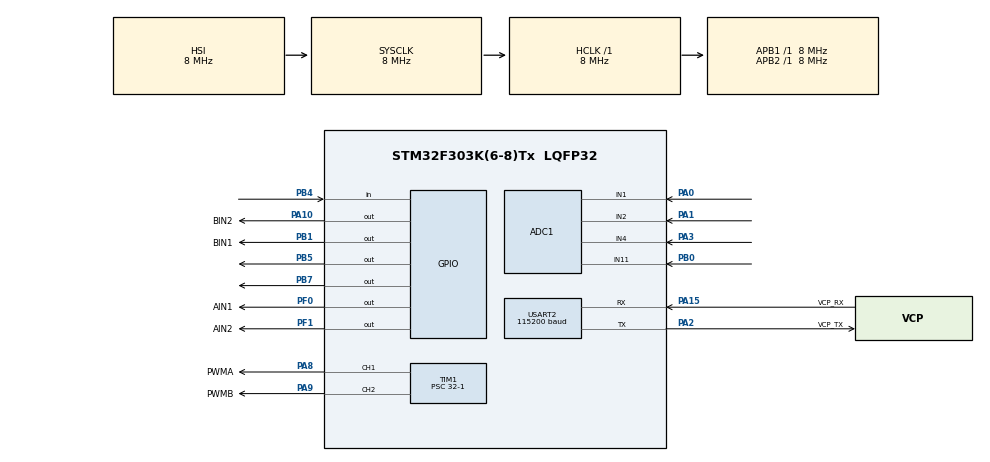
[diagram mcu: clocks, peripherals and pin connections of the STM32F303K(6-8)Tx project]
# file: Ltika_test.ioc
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ADC1.Channel-0\#ChannelRegularConversion=ADC_CHANNEL_1
ADC1.Channel-1\#ChannelRegularConversion=ADC_CHANNEL_2
ADC1.Channel-2\#ChannelRegularConversion=ADC_CHANNEL_4
ADC1.Channel-3\#ChannelRegularConversion=ADC_CHANNEL_11
ADC1.ClockPrescaler=ADC_CLOCK_SYNC_PCLK_DIV4
ADC1.ContinuousConvMode=ENABLE
ADC1.DMAContinuousRequests=ENABLE
ADC1.EnableAnalogWatchDog1=false
ADC1.NbrOfConversion=4
ADC1.NbrOfConversionFlag=1
ADC1.Offset-0\#ChannelRegularConversion=0
ADC1.Offset-1\#ChannelRegularConversion=0
ADC1.Offset-2\#ChannelRegularConversion=0
ADC1.Offset-3\#ChannelRegularConversion=0
ADC1.OffsetNumber-0\#ChannelRegularConversion=ADC_OFFSET_NONE
ADC1.OffsetNumber-1\#ChannelRegularConversion=ADC_OFFSET_NONE
ADC1.OffsetNumber-2\#ChannelRegularConversion=ADC_OFFSET_NONE
ADC1.OffsetNumber-3\#ChannelRegularConversion=ADC_OFFSET_NONE
ADC1.Rank-0\#ChannelRegularConversion=1
ADC1.Rank-1\#ChannelRegularConversion=2
ADC1.Rank-2\#ChannelRegularConversion=3
ADC1.Rank-3\#ChannelRegularConversion=4
ADC1.SamplingTime-0\#ChannelRegularConversion=ADC_SAMPLETIME_61CYCLES_5
ADC1.SamplingTime-1\#ChannelRegularConversion=ADC_SAMPLETIME_61CYCLES_5
ADC1.SamplingTime-2\#ChannelRegularConversion=ADC_SAMPLETIME_61CYCLES_5
ADC1.SamplingTime-3\#ChannelRegularConversion=ADC_SAMPLETIME_61CYCLES_5
ADC1.master=1
Dma.ADC1.0.Direction=DMA_PERIPH_TO_MEMORY
Dma.ADC1.0.Instance=DMA1_Channel1
Dma.ADC1.0.MemDataAlignment=DMA_MDATAALIGN_HALFWORD
Dma.ADC1.0.MemInc=DMA_MINC_ENABLE
Dma.ADC1.0.Mode=DMA_CIRCULAR
Dma.ADC1.0.PeriphDataAlignment=DMA_PDATAALIGN_HALFWORD
Dma.ADC1.0.PeriphInc=DMA_PINC_DISABLE
Dma.ADC1.0.Priority=DMA_PRIORITY_LOW
Dma.Request0=ADC1
Mcu.Family=STM32F3
Mcu.Name=STM32F303K(6-8)Tx
Mcu.Package=LQFP32
NVIC.DMA1_Channel1_IRQn=true\:0\:0\:false\:false\:true\:false\:true\:true
NVIC.PriorityGroup=NVIC_PRIORITYGROUP_4
PA0.Mode=IN1-Single-Ended
PA0.Signal=ADC1_IN1
PA1.Mode=IN2-Single-Ended
PA1.Signal=ADC1_IN2
PA10.GPIO_Label=BIN2
PA10.Signal=GPIO_Output
PA11.Signal=S_TIM1_CH4
PA12.Signal=S_TIM16_CH1
PA13.GPIO_Label=SWDIO
PA13.Mode=Serial_Wire
PA13.Signal=SYS_JTMS-SWDIO
PA14.GPIO_Label=SWCLK
PA14.Mode=Serial_Wire
PA14.Signal=SYS_JTCK-SWCLK
PA15.GPIO_Label=VCP_RX
PA15.Mode=Asynchronous
PA15.Signal=USART2_RX
PA2.GPIO_Label=VCP_TX
PA2.Mode=Asynchronous
PA2.Signal=USART2_TX
PA3.Mode=IN4-Single-Ended
PA3.Signal=ADC1_IN4
PA8.GPIO_Label=PWMA
PA8.Signal=S_TIM1_CH1
PA9.GPIO_Label=PWMB
PA9.Signal=S_TIM1_CH2
PB0.Mode=IN11-Single-Ended
PB0.Signal=ADC1_IN11
PB1.GPIO_Label=BIN1
PB1.Signal=GPIO_Output
PB3.Signal=S_TIM2_CH2
PB4.Signal=GPIO_Input
PB5.Signal=GPIO_Output
PB7.Signal=GPIO_Output
PF0\ /\ OSC_IN.GPIO_Label=AIN1
PF0\ /\ OSC_IN.Signal=GPIO_Output
PF1\ /\ OSC_OUT.GPIO_Label=AIN2
PF1\ /\ OSC_OUT.Signal=GPIO_Output
ProjectManager.HeapSize=0x200
ProjectManager.StackSize=0x400
ProjectManager.TargetToolchain=STM32CubeIDE
RCC.AHBFreq_Value=8000000
RCC.APB1Freq_Value=8000000
RCC.APB2Freq_Value=8000000
RCC.CortexFreq_Value=8000000
RCC.HSE_VALUE=8000000
RCC.HSI_VALUE=8000000
RCC.PLLMUL=RCC_PLL_MUL4
RCC.SYSCLKFreq_VALUE=8000000
SH.S_TIM16_CH1.0=TIM16_CH1
SH.S_TIM1_CH1.0=TIM1_CH1,PWM Generation1 CH1
SH.S_TIM1_CH2.0=TIM1_CH2,PWM Generation2 CH2
SH.S_TIM1_CH4.0=TIM1_CH4
SH.S_TIM2_CH2.0=TIM2_CH2
TIM1.Channel-PWM\ Generation1\ CH1=TIM_CHANNEL_1
TIM1.Channel-PWM\ Generation2\ CH2=TIM_CHANNEL_2
TIM1.Period=1000
TIM1.Prescaler=32-1
TIM2.Period=1000
TIM2.Prescaler=8000-1
USART2.BaudRate=115200
USART2.VirtualMode-Asynchronous=VM_ASYNC
VP_TIM1_VS_ClockSourceINT.Mode=Internal
VP_TIM2_VS_ClockSourceINT.Mode=Internal
board=NUCLEO-F303K8

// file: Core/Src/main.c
/* USER CODE BEGIN Header */
/**
  ******************************************************************************
  * @file           : main.c
  * @brief          : Main program body
  ******************************************************************************
  * @attention
  *
  * Copyright (c) 2026 STMicroelectronics.
  * All rights reserved.
  *
  * This software is licensed under terms that can be found in the LICENSE file
  * in the root directory of this software component.
  * If no LICENSE file comes with this software, it is provided AS-IS.
  *
  ******************************************************************************
  */
/* USER CODE END Header */
#include "main.h"
#include "adc.h"
#include "dma.h"
#include "tim.h"
#include "usart.h"
#include "gpio.h"

/* USER CODE BEGIN PD */

/*
 * ADC 阈值：低于此值 = 感光管检测到黑线
 * 实际电路：白线反射红外 → 光电管导通 → 高 ADC 值；黑线吸收红外 → 截止 → 低 ADC 值
 */
#define BLACK_THRESHOLD  2000

/* 电机 PWM 速度（0 ~ 1000，对应 TIM1 Period = 1000） */
#define SPEED_BASE   600    /* 直行速度                          */
#define SPEED_TRIM    80    /* 轻微偏差修正幅度（base ± TRIM）    */
#define SPEED_FAST   750    /* 中度转弯外侧轮速度                 */
#define SPEED_SLOW   200    /* 中度转弯内侧轮速度                 */
#define SPEED_SPIN   450    /* 急转弯反转速度                     */

/* USER CODE END PD */

/* USER CODE BEGIN PV */

/*
 * DMA 持续将 ADC1 四通道结果写入此缓冲区（12 位，0~4095）：
 *   adc_buf[0]  PA0  → ADC1_IN1   最左侧传感器
 *   adc_buf[1]  PA1  → ADC1_IN2   左中传感器
 *   adc_buf[2]  PA3  → ADC1_IN4   右中传感器
 *   adc_buf[3]  PB0  → ADC1_IN11  最右侧传感器
 */
volatile uint16_t adc_buf[4];

/* USER CODE END PV */

void SystemClock_Config(void);
/* USER CODE BEGIN PFP */

static void Motor_Drive(int16_t leftPWM, int16_t rightPWM);

/* USER CODE END PFP */

/* USER CODE BEGIN 0 */

/**
 * 驱动两个电机。
 * leftPWM / rightPWM：-1000（全速后退）~ +1000（全速前进），0 = 停止。
 *
 * 引脚对应关系（见 main.h / gpio.c）：
 *   左轮  Motor A：AIN1 = PF0，AIN2 = PF1，PWM = PA8（TIM1_CH1）
 *   右轮  Motor B：BIN1 = PB1，BIN2 = PA10，PWM = PA9（TIM1_CH2）
 *
 * 若小车运动方向与预期相反，交换 leftPWM / rightPWM 参数，
 * 或将对应电机的 xIN1 / xIN2 逻辑对调即可。
 */
static void Motor_Drive(int16_t leftPWM, int16_t rightPWM)
{
    /* 限幅 */
    if (leftPWM  >  1000) leftPWM  =  1000;
    if (leftPWM  < -1000) leftPWM  = -1000;
    if (rightPWM >  1000) rightPWM =  1000;
    if (rightPWM < -1000) rightPWM = -1000;

    /* 左轮（Motor A） */
    if (leftPWM > 0) {
        HAL_GPIO_WritePin(AIN1_GPIO_Port, AIN1_Pin, GPIO_PIN_SET);
        HAL_GPIO_WritePin(AIN2_GPIO_Port, AIN2_Pin, GPIO_PIN_RESET);
    } else if (leftPWM < 0) {
        HAL_GPIO_WritePin(AIN1_GPIO_Port, AIN1_Pin, GPIO_PIN_RESET);
        HAL_GPIO_WritePin(AIN2_GPIO_Port, AIN2_Pin, GPIO_PIN_SET);
        leftPWM = -leftPWM;
    } else {
        HAL_GPIO_WritePin(AIN1_GPIO_Port, AIN1_Pin, GPIO_PIN_RESET);
        HAL_GPIO_WritePin(AIN2_GPIO_Port, AIN2_Pin, GPIO_PIN_RESET);
    }

    /* 右轮（Motor B） */
    if (rightPWM > 0) {
        HAL_GPIO_WritePin(BIN1_GPIO_Port, BIN1_Pin, GPIO_PIN_SET);
        HAL_GPIO_WritePin(BIN2_GPIO_Port, BIN2_Pin, GPIO_PIN_RESET);
    } else if (rightPWM < 0) {
        HAL_GPIO_WritePin(BIN1_GPIO_Port, BIN1_Pin, GPIO_PIN_RESET);
        HAL_GPIO_WritePin(BIN2_GPIO_Port, BIN2_Pin, GPIO_PIN_SET);
        rightPWM = -rightPWM;
    } else {
        HAL_GPIO_WritePin(BIN1_GPIO_Port, BIN1_Pin, GPIO_PIN_RESET);
        HAL_GPIO_WritePin(BIN2_GPIO_Port, BIN2_Pin, GPIO_PIN_RESET);
    }

    __HAL_TIM_SET_COMPARE(&htim1, TIM_CHANNEL_1, (uint32_t)leftPWM);
    __HAL_TIM_SET_COMPARE(&htim1, TIM_CHANNEL_2, (uint32_t)rightPWM);
}

/* USER CODE END 0 */

int main(void)
{

  /* MCU Configuration--------------------------------------------------------*/

  /* Reset of all peripherals, Initializes the Flash interface and the Systick. */
  HAL_Init();

  /* Configure the system clock */
  SystemClock_Config();

  /* Initialize all configured peripherals */
  MX_GPIO_Init();
  MX_DMA_Init();
  MX_USART2_UART_Init();
  MX_ADC1_Init();
  MX_TIM1_Init();
  MX_TIM2_Init();
  /* USER CODE BEGIN 2 */

  /* 校准必须在 DMA 启动之前完成 */
  HAL_ADCEx_Calibration_Start(&hadc1, ADC_SINGLE_ENDED);
  HAL_ADC_Start_DMA(&hadc1, (uint32_t *)adc_buf, 4);

  /* 启动 PWM 输出通道 */
  HAL_TIM_PWM_Start(&htim1, TIM_CHANNEL_1);
  HAL_TIM_PWM_Start(&htim1, TIM_CHANNEL_2);

  /* USER CODE END 2 */

  /* Infinite loop */
  while (1)
  {

    /* USER CODE BEGIN 3 */

    /*
     * 读取四路传感器并二值化：1 = 检测到黑线，0 = 白色地面
     *
     * 传感器排列（从左到右）：
     *   sL   sML   sMR   sR
     *   PA0  PA1   PA3   PB0
     */
    uint8_t sL  = (adc_buf[0] < BLACK_THRESHOLD) ? 1 : 0;
    uint8_t sML = (adc_buf[1] < BLACK_THRESHOLD) ? 1 : 0;
    uint8_t sMR = (adc_buf[2] < BLACK_THRESHOLD) ? 1 : 0;
    uint8_t sR  = (adc_buf[3] < BLACK_THRESHOLD) ? 1 : 0;

    /* 将四路状态编码为 4 位值 [sL sML sMR sR] */
    uint8_t st = (sL << 3) | (sML << 2) | (sMR << 1) | sR;

    switch (st)
    {
      /* ── 直行：中间两路都压线 ── */
      case 0x06: /* 0110 sML+sMR         */
      case 0x07: /* 0111 sML+sMR+sR      */
      case 0x0E: /* 1110 sL+sML+sMR      */
      case 0x0F: /* 1111 全部             */
        Motor_Drive(SPEED_BASE, SPEED_BASE);
        break;

      /* ── 轻微右偏（仅 sMR 压线）：小幅左转修正 ── */
      case 0x02: /* 0010 */
        Motor_Drive(SPEED_BASE + SPEED_TRIM, SPEED_BASE - SPEED_TRIM);
        break;

      /* ── 明显右偏（sMR + sR 压线）：中度左转 ── */
      case 0x03: /* 0011 */
        Motor_Drive(SPEED_FAST, SPEED_SLOW);
        break;

      /* ── 严重右偏（仅 sR 压线）：急左转 ── */
      case 0x01: /* 0001 */
        Motor_Drive(SPEED_FAST, -SPEED_SPIN);
        break;

      /* ── 轻微左偏（仅 sML 压线）：小幅右转修正 ── */
      case 0x04: /* 0100 */
        Motor_Drive(SPEED_BASE - SPEED_TRIM, SPEED_BASE + SPEED_TRIM);
        break;

      /* ── 明显左偏（sL + sML 压线）：中度右转 ── */
      case 0x0C: /* 1100 */
        Motor_Drive(SPEED_SLOW, SPEED_FAST);
        break;

      /* ── 严重左偏（仅 sL 压线）：急右转 ── */
      case 0x08: /* 1000 */
        Motor_Drive(-SPEED_SPIN, SPEED_FAST);
        break;

      /* ── T 形路口 / 终点（两侧触线）：直行通过 ── */
      case 0x09: /* 1001 */
        Motor_Drive(SPEED_BASE, SPEED_BASE);
        break;

      /* ── 丢线：低速直行等待重新找线 ── */
      case 0x00:
      default:
        Motor_Drive(SPEED_BASE / 2, SPEED_BASE / 2);
        break;
    }

    HAL_Delay(5);

    /* USER CODE END 3 */
  }
}

void SystemClock_Config(void)
{
  RCC_OscInitTypeDef RCC_OscInitStruct = {0};
  RCC_ClkInitTypeDef RCC_ClkInitStruct = {0};
  RCC_PeriphCLKInitTypeDef PeriphClkInit = {0};

  /** Initializes the RCC Oscillators according to the specified parameters
  * in the RCC_OscInitTypeDef structure.
  */
  RCC_OscInitStruct.OscillatorType = RCC_OSCILLATORTYPE_HSI;
  RCC_OscInitStruct.HSIState = RCC_HSI_ON;
  RCC_OscInitStruct.HSICalibrationValue = RCC_HSICALIBRATION_DEFAULT;
  RCC_OscInitStruct.PLL.PLLState = RCC_PLL_NONE;
  if (HAL_RCC_OscConfig(&RCC_OscInitStruct) != HAL_OK)
  {
    Error_Handler();
  }

  /** Initializes the CPU, AHB and APB buses clocks
  */
  RCC_ClkInitStruct.ClockType = RCC_CLOCKTYPE_HCLK|RCC_CLOCKTYPE_SYSCLK
                              |RCC_CLOCKTYPE_PCLK1|RCC_CLOCKTYPE_PCLK2;
  RCC_ClkInitStruct.SYSCLKSource = RCC_SYSCLKSOURCE_HSI;
  RCC_ClkInitStruct.AHBCLKDivider = RCC_SYSCLK_DIV1;
  RCC_ClkInitStruct.APB1CLKDivider = RCC_HCLK_DIV1;
  RCC_ClkInitStruct.APB2CLKDivider = RCC_HCLK_DIV1;

  if (HAL_RCC_ClockConfig(&RCC_ClkInitStruct, FLASH_LATENCY_0) != HAL_OK)
  {
    Error_Handler();
  }
  PeriphClkInit.PeriphClockSelection = RCC_PERIPHCLK_TIM1;
  PeriphClkInit.Tim1ClockSelection = RCC_TIM1CLK_HCLK;
  if (HAL_RCCEx_PeriphCLKConfig(&PeriphClkInit) != HAL_OK)
  {
    Error_Handler();
  }
}

void Error_Handler(void)
{
  __disable_irq();
  while (1)
  {
  }
}
